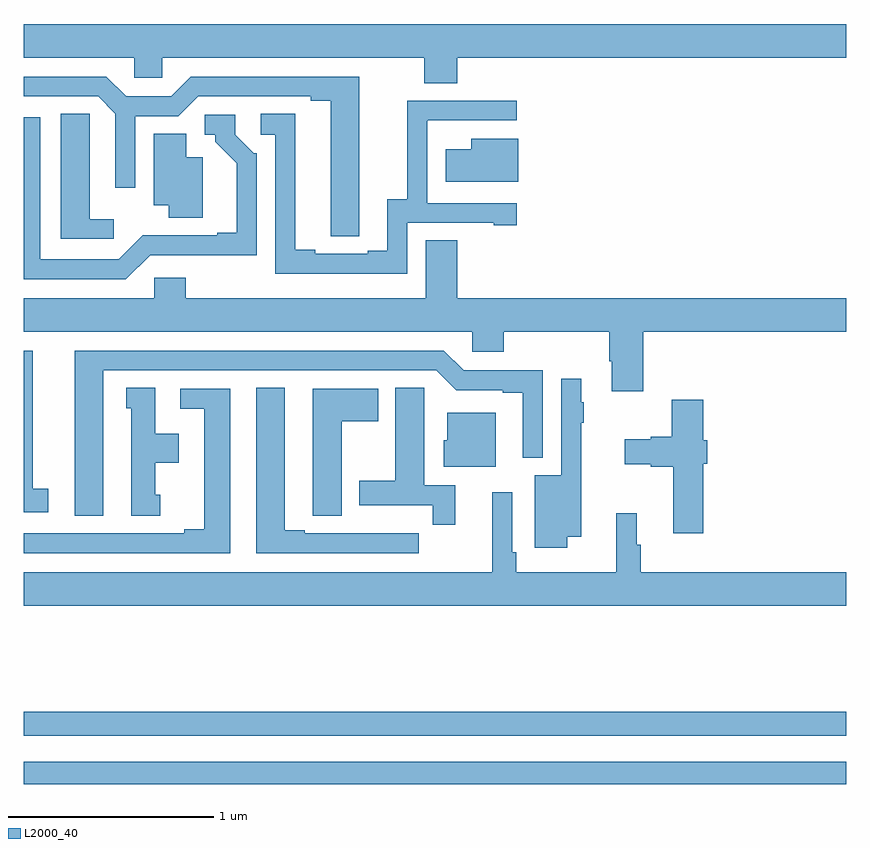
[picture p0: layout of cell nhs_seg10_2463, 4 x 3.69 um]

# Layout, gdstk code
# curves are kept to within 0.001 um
import gdstk
lib = gdstk.Library(unit=1e-6, precision=1e-09)
def R(c, l, rs):  # rectangles x0, y0, x1, y1
    for r in rs: c.add(gdstk.rectangle(r[:2], r[2:], *l))
def P(c, l, *ps):  # polygons
    for p in ps: c.add(gdstk.Polygon(p, *l))
L2000_40 = (2000, 40)

nhs_seg10_2463 = lib.new_cell('nhs_seg10_2463')
R(nhs_seg10_2463, L2000_40, [(243,1292.79,247,1292.898), (243,1293.024,247,1293.14)])
P(nhs_seg10_2463, L2000_40, [(245.108,1296.32),(247,1296.32),(247,1296.484),(243,1296.484),(243,1296.32),(243.537,1296.32),(243.537,1296.222),(243.675,1296.222),(243.675,1296.32),(244.948,1296.32),(244.948,1296.196),(245.108,1296.196)],
  [(244.632,1295.56),(244.633,1296.228),(243.813,1296.228),(243.717,1296.132),(243.499,1296.132),(243.403,1296.228),(243,1296.228),(243,1296.132),(243.363,1296.132),(243.447,1296.048),(243.447,1295.688),(243.543,1295.688),(243.543,1296.036),(243.753,1296.036),(243.849,1296.132),(244.397,1296.132),(244.397,1296.112),(244.493,1296.112),(244.493,1295.452),(244.632,1295.452)],
  [(244.866,1295.517),(245.285,1295.517),(245.285,1295.505),(245.398,1295.505),(245.398,1295.613),(244.962,1295.613),(244.962,1296.014),(244.964,1296.014),(244.964,1296.015),(245.398,1296.015),(245.398,1296.111),(244.864,1296.111),(244.864,1295.633),(244.769,1295.633),(244.769,1295.382),(244.673,1295.382),(244.673,1295.367),(244.417,1295.367),(244.417,1295.387),(244.321,1295.387),(244.321,1296.047),(244.152,1296.047),(244.152,1295.946),(244.224,1295.946),(244.224,1295.271),(244.866,1295.271)],
  [(243.439,1295.536),(243.322,1295.536),(243.322,1295.939),(243.321,1295.939),(243.321,1296.047),(243.182,1296.047),(243.182,1295.439),(243.439,1295.439)],
  [(243.615,1295.361),(244.134,1295.36),(244.134,1295.856),(244.119,1295.856),(244.029,1295.946),(244.029,1296.042),(243.882,1296.042),(243.882,1295.946),(243.932,1295.946),(243.932,1295.911),(244.037,1295.806),(244.037,1295.47),(243.941,1295.47),(243.941,1295.457),(243.58,1295.458),(243.462,1295.34),(243.082,1295.34),(243.082,1296.03),(243,1296.03),(243,1295.244),(243.498,1295.244)],
  [(243.871,1295.836),(243.79,1295.836),(243.79,1295.951),(243.632,1295.951),(243.632,1295.603),(243.707,1295.603),(243.707,1295.542),(243.871,1295.542)],
  [(245.404,1295.926),(245.177,1295.926),(245.177,1295.875),(245.052,1295.875),(245.052,1295.717),(245.404,1295.717)],
  [(246.011,1294.988),(247,1294.988),(247,1295.152),(245.108,1295.152),(245.108,1295.432),(244.955,1295.432),(244.955,1295.152),(243.788,1295.152),(243.788,1295.25),(243.636,1295.25),(243.636,1295.152),(243,1295.152),(243,1294.988),(245.181,1294.988),(245.181,1294.89),(245.333,1294.89),(245.333,1294.988),(245.846,1294.988),(245.846,1294.846),(245.858,1294.846),(245.858,1294.698),(246.011,1294.698)],
  [(243.121,1294.226),(243.046,1294.226),(243.046,1294.896),(243,1294.896),(243,1294.11),(243.121,1294.11)],
  [(243.388,1294.8),(245.007,1294.8),(245.103,1294.704),(245.33,1294.704),(245.33,1294.692),(245.426,1294.692),(245.426,1294.376),(245.523,1294.376),(245.523,1294.8),(245.139,1294.8),(245.043,1294.896),(243.248,1294.896),(243.248,1294.095),(243.388,1294.095)],
  [(245.644,1293.992),(245.71,1293.992),(245.71,1294.287),(245.711,1294.287),(245.711,1294.546),(245.722,1294.546),(245.722,1294.646),(245.71,1294.646),(245.71,1294.759),(245.613,1294.759),(245.613,1294.291),(245.486,1294.291),(245.486,1293.939),(245.644,1293.939)],
  [(245.099,1294.242),(244.948,1294.242),(244.948,1294.604),(244.947,1294.604),(244.947,1294.715),(244.808,1294.715),(244.808,1294.263),(244.631,1294.263),(244.631,1294.146),(244.99,1294.146),(244.99,1294.05),(245.099,1294.05)],
  [(244.921,1294.008),(244.808,1294.008),(244.808,1294.009),(244.642,1294.009),(244.642,1294.008),(244.366,1294.008),(244.366,1294.023),(244.27,1294.023),(244.27,1294.715),(244.13,1294.715),(244.13,1293.912),(244.921,1293.912)],
  [(243.664,1294.197),(243.64,1294.197),(243.64,1294.352),(243.754,1294.352),(243.754,1294.492),(243.64,1294.492),(243.64,1294.715),(243.5,1294.715),(243.5,1294.617),(243.524,1294.617),(243.524,1294.095),(243.664,1294.095)],
  [(244.546,1294.552),(244.723,1294.552),(244.723,1294.711),(244.406,1294.711),(244.406,1294.201),(244.407,1294.201),(244.407,1294.093),(244.546,1294.093)],
  [(244.006,1294.71),(243.762,1294.71),(243.762,1294.614),(243.878,1294.614),(243.878,1294.028),(243.782,1294.028),(243.782,1294.008),(243,1294.008),(243,1293.912),(244.006,1293.912)],
  [(246.305,1294.347),(246.323,1294.347),(246.323,1294.461),(246.305,1294.461),(246.305,1294.657),(246.151,1294.657),(246.151,1294.478),(246.048,1294.478),(246.048,1294.465),(245.922,1294.465),(245.922,1294.343),(246.048,1294.343),(246.048,1294.331),(246.158,1294.331),(246.158,1294.008),(246.305,1294.008)],
  [(245.296,1294.594),(245.06,1294.594),(245.06,1294.461),(245.042,1294.461),(245.042,1294.331),(245.296,1294.331)],
  [(247,1293.82),(245.999,1293.82),(245.999,1293.954),(245.98,1293.954),(245.98,1294.105),(245.881,1294.105),(245.881,1293.82),(245.396,1293.82),(245.396,1293.916),(245.376,1293.916),(245.376,1294.207),(245.279,1294.207),(245.279,1293.82),(243,1293.82),(243,1293.656),(247,1293.656)])

lib.write_gds('nhs_seg10_2463.gds')
